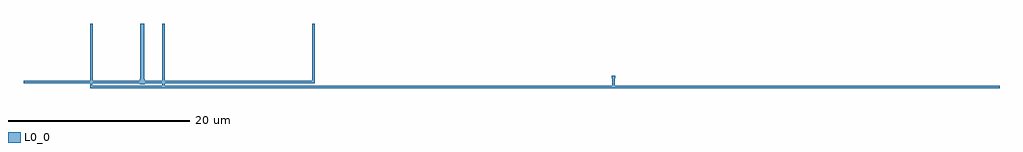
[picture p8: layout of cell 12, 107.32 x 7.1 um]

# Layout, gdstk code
import gdstk
lib = gdstk.Library(unit=1e-6, precision=1e-09)
def P(c, l, *ps):  # polygons
    for p in ps: c.add(gdstk.Polygon(p, *l))
L0_0 = (0, 0)

c_12 = lib.new_cell('12')
P(c_12, L0_0, [(1213.3,775),(1213.3,768.38),(1212.86,768.38),(1212.86,775),(1213.3,775)],
  [(1212.81,768.87),(1213.35,768.87),(1213.35,768.33),(1212.81,768.33),(1212.81,768.87)],
  [(1207.355,767.925),(1207.355,768.715),(1207.585,768.715),(1207.585,767.925),(1207.355,767.925)],
  [(1207.355,768.155),(1265.005,768.155),(1265.005,767.925),(1207.355,767.925),(1207.355,768.155)],
  [(1264.7,768.18),(1265.08,768.18),(1265.08,767.9),(1264.7,767.9),(1264.7,768.18)],
  [(1207.28,768.74),(1207.66,768.74),(1207.66,768.46),(1207.28,768.46),(1207.28,768.74)],
  [(1207.355,768.155),(1265.005,768.155),(1265.005,767.925),(1207.355,767.925),(1207.355,768.155)],
  [(1264.7,768.18),(1265.08,768.18),(1265.08,767.9),(1264.7,767.9),(1264.7,768.18)],
  [(1231.04,768.74),(1231.42,768.74),(1231.42,768.46),(1231.04,768.46),(1231.04,768.74)],
  [(1232.03,775),(1232.03,768.46),(1231.75,768.46),(1231.75,775),(1232.03,775)],
  [(1231.09,768.74),(1232.03,768.74),(1232.03,768.46),(1231.09,768.46),(1231.09,768.74)],
  [(1231.04,768.74),(1231.42,768.74),(1231.42,768.46),(1231.04,768.46),(1231.04,768.74)],
  [(1231.09,768.74),(1232.03,768.74),(1232.03,768.46),(1231.09,768.46),(1231.09,768.74)],
  [(1264.7,769.3),(1265.08,769.3),(1265.08,769.02),(1264.7,769.02),(1264.7,769.3)],
  [(1264.7,768.18),(1265.08,768.18),(1265.08,767.9),(1264.7,767.9),(1264.7,768.18)],
  [(1264.75,767.9),(1264.75,769.3),(1265.03,769.3),(1265.03,767.9),(1264.75,767.9)],
  [(1207.28,768.74),(1207.66,768.74),(1207.66,768.46),(1207.28,768.46),(1207.28,768.74)],
  [(1207.61,775),(1207.61,768.46),(1207.33,768.46),(1207.33,775),(1207.61,775)],
  [(1200,768.74),(1231.37,768.74),(1231.37,768.46),(1200,768.46),(1200,768.74)],
  [(1231.04,768.74),(1231.42,768.74),(1231.42,768.46),(1231.04,768.46),(1231.04,768.74)],
  [(1306.94,768.18),(1307.32,768.18),(1307.32,767.9),(1306.94,767.9),(1306.94,768.18)],
  [(1215.25,768.18),(1307.27,768.18),(1307.27,767.9),(1215.25,767.9),(1215.25,768.18)],
  [(1215.2,768.18),(1215.58,768.18),(1215.58,767.9),(1215.2,767.9),(1215.2,768.18)],
  [(1215.53,775),(1215.53,767.9),(1215.25,767.9),(1215.25,775),(1215.53,775)],
  [(1215.2,768.18),(1215.58,768.18),(1215.58,767.9),(1215.2,767.9),(1215.2,768.18)])

lib.write_gds('12.gds')
